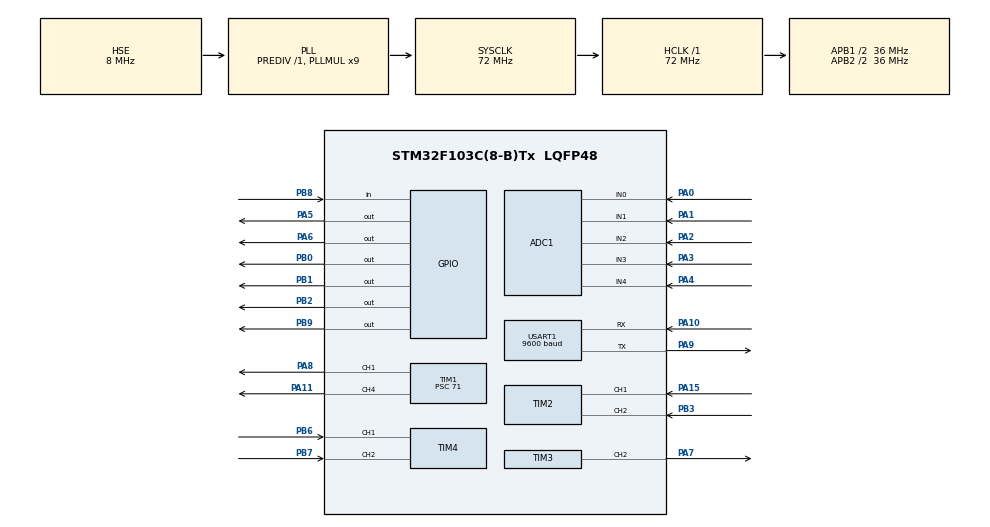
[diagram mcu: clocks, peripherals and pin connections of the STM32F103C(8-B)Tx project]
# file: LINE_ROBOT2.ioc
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ADC1.Channel-0\#ChannelRegularConversion=ADC_CHANNEL_4
ADC1.Channel-1\#ChannelRegularConversion=ADC_CHANNEL_0
ADC1.Channel-2\#ChannelRegularConversion=ADC_CHANNEL_1
ADC1.Channel-3\#ChannelRegularConversion=ADC_CHANNEL_2
ADC1.Channel-6\#ChannelRegularConversion=ADC_CHANNEL_3
ADC1.ContinuousConvMode=ENABLE
ADC1.EnableAnalogWatchDog=false
ADC1.NbrOfConversion=5
ADC1.NbrOfConversionFlag=1
ADC1.Rank-0\#ChannelRegularConversion=1
ADC1.Rank-1\#ChannelRegularConversion=2
ADC1.Rank-2\#ChannelRegularConversion=3
ADC1.Rank-3\#ChannelRegularConversion=4
ADC1.Rank-6\#ChannelRegularConversion=5
ADC1.SamplingTime-0\#ChannelRegularConversion=ADC_SAMPLETIME_71CYCLES_5
ADC1.SamplingTime-1\#ChannelRegularConversion=ADC_SAMPLETIME_71CYCLES_5
ADC1.SamplingTime-2\#ChannelRegularConversion=ADC_SAMPLETIME_71CYCLES_5
ADC1.SamplingTime-3\#ChannelRegularConversion=ADC_SAMPLETIME_71CYCLES_5
ADC1.SamplingTime-6\#ChannelRegularConversion=ADC_SAMPLETIME_71CYCLES_5
ADC1.master=1
Dma.ADC1.0.Direction=DMA_PERIPH_TO_MEMORY
Dma.ADC1.0.Instance=DMA1_Channel1
Dma.ADC1.0.MemDataAlignment=DMA_MDATAALIGN_HALFWORD
Dma.ADC1.0.MemInc=DMA_MINC_ENABLE
Dma.ADC1.0.Mode=DMA_CIRCULAR
Dma.ADC1.0.PeriphDataAlignment=DMA_PDATAALIGN_HALFWORD
Dma.ADC1.0.PeriphInc=DMA_PINC_DISABLE
Dma.ADC1.0.Priority=DMA_PRIORITY_HIGH
Dma.Request0=ADC1
Mcu.Family=STM32F1
Mcu.Name=STM32F103C(8-B)Tx
Mcu.Package=LQFP48
NVIC.ADC1_2_IRQn=true\:0\:0\:false\:false\:true\:true\:true\:true
NVIC.DMA1_Channel1_IRQn=true\:0\:0\:false\:false\:true\:false\:true\:true
NVIC.PriorityGroup=NVIC_PRIORITYGROUP_4
PA0-WKUP.Signal=ADCx_IN0
PA1.Signal=ADCx_IN1
PA10.Mode=Asynchronous
PA10.Signal=USART1_RX
PA11.Signal=S_TIM1_CH4
PA13.Mode=Serial_Wire
PA13.Signal=SYS_JTMS-SWDIO
PA14.Mode=Serial_Wire
PA14.Signal=SYS_JTCK-SWCLK
PA15.Signal=S_TIM2_CH1_ETR
PA2.Signal=ADCx_IN2
PA3.Signal=ADCx_IN3
PA4.Signal=ADCx_IN4
PA5.Signal=GPIO_Output
PA6.Signal=GPIO_Output
PA7.Signal=S_TIM3_CH2
PA8.Signal=S_TIM1_CH1
PA9.Mode=Asynchronous
PA9.Signal=USART1_TX
PB0.Signal=GPIO_Output
PB1.Signal=GPIO_Output
PB2.Signal=GPIO_Output
PB3.Signal=S_TIM2_CH2
PB6.Signal=S_TIM4_CH1
PB7.Signal=S_TIM4_CH2
PB8.Signal=GPIO_Input
PB9.Signal=GPIO_Output
PD0-OSC_IN.Mode=HSE-External-Oscillator
PD0-OSC_IN.Signal=RCC_OSC_IN
PD1-OSC_OUT.Mode=HSE-External-Oscillator
PD1-OSC_OUT.Signal=RCC_OSC_OUT
ProjectManager.HeapSize=0x200
ProjectManager.StackSize=0x400
ProjectManager.TargetToolchain=STM32CubeIDE
RCC.ADCPresc=RCC_ADCPCLK2_DIV6
RCC.AHBFreq_Value=72000000
RCC.APB1CLKDivider=RCC_HCLK_DIV2
RCC.APB1Freq_Value=36000000
RCC.APB1TimFreq_Value=72000000
RCC.APB2CLKDivider=RCC_HCLK_DIV2
RCC.APB2Freq_Value=36000000
RCC.APB2TimFreq_Value=72000000
RCC.HCLKFreq_Value=72000000
RCC.PLLMUL=RCC_PLL_MUL9
RCC.PLLSourceVirtual=RCC_PLLSOURCE_HSE
RCC.SYSCLKFreq_VALUE=72000000
RCC.SYSCLKSource=RCC_SYSCLKSOURCE_PLLCLK
RCC.USBFreq_Value=72000000
SH.ADCx_IN0.0=ADC1_IN0,IN0
SH.ADCx_IN1.0=ADC1_IN1,IN1
SH.ADCx_IN2.0=ADC1_IN2,IN2
SH.ADCx_IN3.0=ADC1_IN3,IN3
SH.ADCx_IN4.0=ADC1_IN4,IN4
SH.S_TIM1_CH1.0=TIM1_CH1,PWM Generation1 CH1
SH.S_TIM1_CH4.0=TIM1_CH4,PWM Generation4 CH4
SH.S_TIM2_CH1_ETR.0=TIM2_CH1,Encoder_Interface
SH.S_TIM2_CH2.0=TIM2_CH2,Encoder_Interface
SH.S_TIM3_CH2.0=TIM3_CH2,PWM Generation2 CH2
SH.S_TIM4_CH1.0=TIM4_CH1,Encoder_Interface
SH.S_TIM4_CH2.0=TIM4_CH2,Encoder_Interface
TIM1.AutoReloadPreload=TIM_AUTORELOAD_PRELOAD_ENABLE
TIM1.Channel-PWM\ Generation1\ CH1=TIM_CHANNEL_1
TIM1.Channel-PWM\ Generation4\ CH4=TIM_CHANNEL_4
TIM1.OC4Preload_PWM=ENABLE
TIM1.Period=99
TIM1.Prescaler=71
TIM2.AutoReloadPreload=TIM_AUTORELOAD_PRELOAD_ENABLE
TIM2.EncoderMode=TIM_ENCODERMODE_TI12
TIM3.AutoReloadPreload=TIM_AUTORELOAD_PRELOAD_ENABLE
TIM3.Channel-PWM\ Generation2\ CH2=TIM_CHANNEL_2
TIM3.Period=99
TIM3.Prescaler=71
TIM4.AutoReloadPreload=TIM_AUTORELOAD_PRELOAD_ENABLE
TIM4.EncoderMode=TIM_ENCODERMODE_TI12
USART1.BaudRate=9600
USART1.VirtualMode=VM_ASYNC
board=custom

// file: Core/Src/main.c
/* USER CODE BEGIN Header */
/**
  ******************************************************************************
  * @file           : main.c
  * @brief          : Main program body
  ******************************************************************************
  * @attention
  *
  * Copyright (c) 2025 STMicroelectronics.
  * All rights reserved.
  *
  * This software is licensed under terms that can be found in the LICENSE file
  * in the root directory of this software component.
  * If no LICENSE file comes with this software, it is provided AS-IS.
  *
  ******************************************************************************
  */
/* USER CODE END Header */
#include "main.h"

/* USER CODE BEGIN Includes */
#include "hienthi.h"
#include "HX711.h"
#include "loadcell.h"
#include "line_follow.h"
#include "control_motor.h"
#include "stdio.h"
/* USER CODE END Includes */

/* USER CODE BEGIN PTD */
LoadCell_HandleTypeDef loadcell;
/* USER CODE END PTD */

ADC_HandleTypeDef hadc1;
DMA_HandleTypeDef hdma_adc1;

TIM_HandleTypeDef htim1;
TIM_HandleTypeDef htim2;
TIM_HandleTypeDef htim3;
TIM_HandleTypeDef htim4;

UART_HandleTypeDef huart1;

/* USER CODE BEGIN PV */
uint16_t adc_dma_buffer[NUM_SENSORS];

/* USER CODE END PV */

void SystemClock_Config(void);
static void MX_GPIO_Init(void);
static void MX_DMA_Init(void);
static void MX_ADC1_Init(void);
static void MX_TIM2_Init(void);
static void MX_USART1_UART_Init(void);
static void MX_TIM1_Init(void);
static void MX_TIM3_Init(void);
static void MX_TIM4_Init(void);

int main(void)
{

  /* MCU Configuration--------------------------------------------------------*/

  /* Reset of all peripherals, Initializes the Flash interface and the Systick. */
  HAL_Init();

  /* Configure the system clock */
  SystemClock_Config();

  /* Initialize all configured peripherals */
  MX_GPIO_Init();
  MX_DMA_Init();
  MX_ADC1_Init();
  MX_TIM2_Init();
  MX_USART1_UART_Init();
  MX_TIM1_Init();
  MX_TIM3_Init();
  MX_TIM4_Init();
  /* USER CODE BEGIN 2 */
  HAL_ADC_Start(&hadc1);
	// Khởi tạo cân
	  LoadCell_Init(&loadcell,
	                GPIOB, GPIO_PIN_8,   // DOUT
	                GPIOB, GPIO_PIN_9,   // SCK
	                415.713012f, -321367);
	  FOLLOW_Init();
	  Motor_Init();
	  print_uart("=== LINE SENSOR TEST START ===\r\n");
	  Motor_SetSpeedMps(0.3f, 0.3f);  // Chạy thẳng 2s đầu

	  uint32_t start_time = HAL_GetTick();
	  uint8_t state = 0; // 0: thẳng, 1: trái, 2: phải, 3: dừng, 4 : chạy thẳng
	  uint32_t last_speed_time = 0;    // để đọc motor mỗi 10 ms
	  uint32_t last_print_time = 0;    // để in UART mỗi 200 ms
  /* USER CODE END 2 */

  /* Infinite loop */
  /* USER CODE BEGIN WHILE */
  while (1)
  {
	  uint32_t now = HAL_GetTick();

	     /* ====== (1) CẬP NHẬT TỐC ĐỘ MỖI 10 ms ====== */
	     if (now - last_speed_time >= 10)   // 10 ms
	     {
	         last_speed_time = now;
	         Motor_ReadSpeed();             // ✅ ĐÚNG CHU KỲ 10 ms
	     }

	     /* ====== (2) STATE MACHINE CỦA XE ====== */
	     switch (state)
	     {
	         case 0: // 🚗 Đi thẳng 2s
	             Motor_SetSpeedMps(0.3f, 0.3f);
	             if (now - start_time >= 2000)
	             {
	                 state = 1;
	                 start_time = now;
	                 print_uart("➡️  Đang quẹo trái\r\n");
	             }
	             break;

	         case 1: // ⤴️ Quẹo trái 2s
	             Motor_SetSpeedMps(0.03f, 0.3f);
	             if (now - start_time >= 2000)
	             {
	                 state = 2;
	                 start_time = now;
	                 print_uart("➡️  Đang quẹo phải\r\n");
	             }
	             break;

	         case 2: // ⤵️ Quẹo phải 2s
	             Motor_SetSpeedMps(0.3f, 0.03f);
	             if (now - start_time >= 2000)
	             {
	                 state = 3;
	                 start_time = now;
	                 print_uart("➡️  Chạy thẳng tiếp 5s\r\n");
	             }
	             break;

	         case 3: // 🚗 Đi thẳng 5s
	             Motor_SetSpeedMps(0.3f, 0.3f);
	             if (now - start_time >= 5000)
	             {
	                 state = 4;
	                 start_time = now;
	                 print_uart("🛑  Dừng hẳn\r\n");
	             }
	             break;

	         case 4: // 🛑 Dừng
	             Motor_SetSpeedMps(0.0f, 0.0f);
	             break;
	     }

	     /* ====== (3) IN TỐC ĐỘ MỖI 200 ms ====== */
	     if (now - last_print_time >= 200)
	     {
	         last_print_time = now;

	         float v_left  = Motor_GetSpeedLeftMS();
	         float v_right = Motor_GetSpeedRightMS();

	         char buffer[96];
	         sprintf(buffer,
	                 "V_trai: %.2f m/s | V_Phai: %.2f m/s\r\n",
	                 v_left, v_right);
	         print_uart(buffer);
	     }
    /* USER CODE END WHILE */

  }
}

void SystemClock_Config(void)
{
  RCC_OscInitTypeDef RCC_OscInitStruct = {0};
  RCC_ClkInitTypeDef RCC_ClkInitStruct = {0};
  RCC_PeriphCLKInitTypeDef PeriphClkInit = {0};

  /** Initializes the RCC Oscillators according to the specified parameters
  * in the RCC_OscInitTypeDef structure.
  */
  RCC_OscInitStruct.OscillatorType = RCC_OSCILLATORTYPE_HSE;
  RCC_OscInitStruct.HSEState = RCC_HSE_ON;
  RCC_OscInitStruct.HSEPredivValue = RCC_HSE_PREDIV_DIV1;
  RCC_OscInitStruct.HSIState = RCC_HSI_ON;
  RCC_OscInitStruct.PLL.PLLState = RCC_PLL_ON;
  RCC_OscInitStruct.PLL.PLLSource = RCC_PLLSOURCE_HSE;
  RCC_OscInitStruct.PLL.PLLMUL = RCC_PLL_MUL9;
  if (HAL_RCC_OscConfig(&RCC_OscInitStruct) != HAL_OK)
  {
    Error_Handler();
  }

  /** Initializes the CPU, AHB and APB buses clocks
  */
  RCC_ClkInitStruct.ClockType = RCC_CLOCKTYPE_HCLK|RCC_CLOCKTYPE_SYSCLK
                              |RCC_CLOCKTYPE_PCLK1|RCC_CLOCKTYPE_PCLK2;
  RCC_ClkInitStruct.SYSCLKSource = RCC_SYSCLKSOURCE_PLLCLK;
  RCC_ClkInitStruct.AHBCLKDivider = RCC_SYSCLK_DIV1;
  RCC_ClkInitStruct.APB1CLKDivider = RCC_HCLK_DIV2;
  RCC_ClkInitStruct.APB2CLKDivider = RCC_HCLK_DIV2;

  if (HAL_RCC_ClockConfig(&RCC_ClkInitStruct, FLASH_LATENCY_2) != HAL_OK)
  {
    Error_Handler();
  }
  PeriphClkInit.PeriphClockSelection = RCC_PERIPHCLK_ADC;
  PeriphClkInit.AdcClockSelection = RCC_ADCPCLK2_DIV6;
  if (HAL_RCCEx_PeriphCLKConfig(&PeriphClkInit) != HAL_OK)
  {
    Error_Handler();
  }
}

static void MX_ADC1_Init(void)
{

  ADC_ChannelConfTypeDef sConfig = {0};

  /** Common config
  */
  hadc1.Instance = ADC1;
  hadc1.Init.ScanConvMode = ADC_SCAN_ENABLE;
  hadc1.Init.ContinuousConvMode = ENABLE;
  hadc1.Init.DiscontinuousConvMode = DISABLE;
  hadc1.Init.ExternalTrigConv = ADC_SOFTWARE_START;
  hadc1.Init.DataAlign = ADC_DATAALIGN_RIGHT;
  hadc1.Init.NbrOfConversion = 5;
  if (HAL_ADC_Init(&hadc1) != HAL_OK)
  {
    Error_Handler();
  }

  /** Configure Regular Channel
  */
  sConfig.Channel = ADC_CHANNEL_4;
  sConfig.Rank = ADC_REGULAR_RANK_1;
  sConfig.SamplingTime = ADC_SAMPLETIME_71CYCLES_5;
  if (HAL_ADC_ConfigChannel(&hadc1, &sConfig) != HAL_OK)
  {
    Error_Handler();
  }

  /** Configure Regular Channel
  */
  sConfig.Channel = ADC_CHANNEL_0;
  sConfig.Rank = ADC_REGULAR_RANK_2;
  if (HAL_ADC_ConfigChannel(&hadc1, &sConfig) != HAL_OK)
  {
    Error_Handler();
  }

  /** Configure Regular Channel
  */
  sConfig.Channel = ADC_CHANNEL_1;
  sConfig.Rank = ADC_REGULAR_RANK_3;
  if (HAL_ADC_ConfigChannel(&hadc1, &sConfig) != HAL_OK)
  {
    Error_Handler();
  }

  /** Configure Regular Channel
  */
  sConfig.Channel = ADC_CHANNEL_2;
  sConfig.Rank = ADC_REGULAR_RANK_4;
  if (HAL_ADC_ConfigChannel(&hadc1, &sConfig) != HAL_OK)
  {
    Error_Handler();
  }

  /** Configure Regular Channel
  */
  sConfig.Channel = ADC_CHANNEL_3;
  sConfig.Rank = ADC_REGULAR_RANK_5;
  if (HAL_ADC_ConfigChannel(&hadc1, &sConfig) != HAL_OK)
  {
    Error_Handler();
  }

}

static void MX_TIM1_Init(void)
{

  TIM_MasterConfigTypeDef sMasterConfig = {0};
  TIM_OC_InitTypeDef sConfigOC = {0};
  TIM_BreakDeadTimeConfigTypeDef sBreakDeadTimeConfig = {0};

  htim1.Instance = TIM1;
  htim1.Init.Prescaler = 71;
  htim1.Init.CounterMode = TIM_COUNTERMODE_UP;
  htim1.Init.Period = 99;
  htim1.Init.ClockDivision = TIM_CLOCKDIVISION_DIV1;
  htim1.Init.RepetitionCounter = 0;
  htim1.Init.AutoReloadPreload = TIM_AUTORELOAD_PRELOAD_ENABLE;
  if (HAL_TIM_PWM_Init(&htim1) != HAL_OK)
  {
    Error_Handler();
  }
  sMasterConfig.MasterOutputTrigger = TIM_TRGO_RESET;
  sMasterConfig.MasterSlaveMode = TIM_MASTERSLAVEMODE_DISABLE;
  if (HAL_TIMEx_MasterConfigSynchronization(&htim1, &sMasterConfig) != HAL_OK)
  {
    Error_Handler();
  }
  sConfigOC.OCMode = TIM_OCMODE_PWM1;
  sConfigOC.Pulse = 0;
  sConfigOC.OCPolarity = TIM_OCPOLARITY_HIGH;
  sConfigOC.OCNPolarity = TIM_OCNPOLARITY_HIGH;
  sConfigOC.OCFastMode = TIM_OCFAST_DISABLE;
  sConfigOC.OCIdleState = TIM_OCIDLESTATE_RESET;
  sConfigOC.OCNIdleState = TIM_OCNIDLESTATE_RESET;
  if (HAL_TIM_PWM_ConfigChannel(&htim1, &sConfigOC, TIM_CHANNEL_1) != HAL_OK)
  {
    Error_Handler();
  }
  if (HAL_TIM_PWM_ConfigChannel(&htim1, &sConfigOC, TIM_CHANNEL_4) != HAL_OK)
  {
    Error_Handler();
  }
  sBreakDeadTimeConfig.OffStateRunMode = TIM_OSSR_DISABLE;
  sBreakDeadTimeConfig.OffStateIDLEMode = TIM_OSSI_DISABLE;
  sBreakDeadTimeConfig.LockLevel = TIM_LOCKLEVEL_OFF;
  sBreakDeadTimeConfig.DeadTime = 0;
  sBreakDeadTimeConfig.BreakState = TIM_BREAK_DISABLE;
  sBreakDeadTimeConfig.BreakPolarity = TIM_BREAKPOLARITY_HIGH;
  sBreakDeadTimeConfig.AutomaticOutput = TIM_AUTOMATICOUTPUT_DISABLE;
  if (HAL_TIMEx_ConfigBreakDeadTime(&htim1, &sBreakDeadTimeConfig) != HAL_OK)
  {
    Error_Handler();
  }
  HAL_TIM_MspPostInit(&htim1);

}

static void MX_TIM2_Init(void)
{

  TIM_Encoder_InitTypeDef sConfig = {0};
  TIM_MasterConfigTypeDef sMasterConfig = {0};

  htim2.Instance = TIM2;
  htim2.Init.Prescaler = 0;
  htim2.Init.CounterMode = TIM_COUNTERMODE_UP;
  htim2.Init.Period = 65535;
  htim2.Init.ClockDivision = TIM_CLOCKDIVISION_DIV1;
  htim2.Init.AutoReloadPreload = TIM_AUTORELOAD_PRELOAD_ENABLE;
  sConfig.EncoderMode = TIM_ENCODERMODE_TI12;
  sConfig.IC1Polarity = TIM_ICPOLARITY_RISING;
  sConfig.IC1Selection = TIM_ICSELECTION_DIRECTTI;
  sConfig.IC1Prescaler = TIM_ICPSC_DIV1;
  sConfig.IC1Filter = 0;
  sConfig.IC2Polarity = TIM_ICPOLARITY_RISING;
  sConfig.IC2Selection = TIM_ICSELECTION_DIRECTTI;
  sConfig.IC2Prescaler = TIM_ICPSC_DIV1;
  sConfig.IC2Filter = 0;
  if (HAL_TIM_Encoder_Init(&htim2, &sConfig) != HAL_OK)
  {
    Error_Handler();
  }
  sMasterConfig.MasterOutputTrigger = TIM_TRGO_RESET;
  sMasterConfig.MasterSlaveMode = TIM_MASTERSLAVEMODE_DISABLE;
  if (HAL_TIMEx_MasterConfigSynchronization(&htim2, &sMasterConfig) != HAL_OK)
  {
    Error_Handler();
  }

}

static void MX_TIM3_Init(void)
{

  TIM_MasterConfigTypeDef sMasterConfig = {0};
  TIM_OC_InitTypeDef sConfigOC = {0};

  htim3.Instance = TIM3;
  htim3.Init.Prescaler = 71;
  htim3.Init.CounterMode = TIM_COUNTERMODE_UP;
  htim3.Init.Period = 99;
  htim3.Init.ClockDivision = TIM_CLOCKDIVISION_DIV1;
  htim3.Init.AutoReloadPreload = TIM_AUTORELOAD_PRELOAD_ENABLE;
  if (HAL_TIM_PWM_Init(&htim3) != HAL_OK)
  {
    Error_Handler();
  }
  sMasterConfig.MasterOutputTrigger = TIM_TRGO_RESET;
  sMasterConfig.MasterSlaveMode = TIM_MASTERSLAVEMODE_DISABLE;
  if (HAL_TIMEx_MasterConfigSynchronization(&htim3, &sMasterConfig) != HAL_OK)
  {
    Error_Handler();
  }
  sConfigOC.OCMode = TIM_OCMODE_PWM1;
  sConfigOC.Pulse = 0;
  sConfigOC.OCPolarity = TIM_OCPOLARITY_HIGH;
  sConfigOC.OCFastMode = TIM_OCFAST_DISABLE;
  if (HAL_TIM_PWM_ConfigChannel(&htim3, &sConfigOC, TIM_CHANNEL_2) != HAL_OK)
  {
    Error_Handler();
  }
  HAL_TIM_MspPostInit(&htim3);

}

static void MX_TIM4_Init(void)
{

  TIM_Encoder_InitTypeDef sConfig = {0};
  TIM_MasterConfigTypeDef sMasterConfig = {0};

  htim4.Instance = TIM4;
  htim4.Init.Prescaler = 0;
  htim4.Init.CounterMode = TIM_COUNTERMODE_UP;
  htim4.Init.Period = 65535;
  htim4.Init.ClockDivision = TIM_CLOCKDIVISION_DIV1;
  htim4.Init.AutoReloadPreload = TIM_AUTORELOAD_PRELOAD_ENABLE;
  sConfig.EncoderMode = TIM_ENCODERMODE_TI12;
  sConfig.IC1Polarity = TIM_ICPOLARITY_RISING;
  sConfig.IC1Selection = TIM_ICSELECTION_DIRECTTI;
  sConfig.IC1Prescaler = TIM_ICPSC_DIV1;
  sConfig.IC1Filter = 0;
  sConfig.IC2Polarity = TIM_ICPOLARITY_RISING;
  sConfig.IC2Selection = TIM_ICSELECTION_DIRECTTI;
  sConfig.IC2Prescaler = TIM_ICPSC_DIV1;
  sConfig.IC2Filter = 0;
  if (HAL_TIM_Encoder_Init(&htim4, &sConfig) != HAL_OK)
  {
    Error_Handler();
  }
  sMasterConfig.MasterOutputTrigger = TIM_TRGO_RESET;
  sMasterConfig.MasterSlaveMode = TIM_MASTERSLAVEMODE_DISABLE;
  if (HAL_TIMEx_MasterConfigSynchronization(&htim4, &sMasterConfig) != HAL_OK)
  {
    Error_Handler();
  }

}

static void MX_USART1_UART_Init(void)
{

  huart1.Instance = USART1;
  huart1.Init.BaudRate = 9600;
  huart1.Init.WordLength = UART_WORDLENGTH_8B;
  huart1.Init.StopBits = UART_STOPBITS_1;
  huart1.Init.Parity = UART_PARITY_NONE;
  huart1.Init.Mode = UART_MODE_TX_RX;
  huart1.Init.HwFlowCtl = UART_HWCONTROL_NONE;
  huart1.Init.OverSampling = UART_OVERSAMPLING_16;
  if (HAL_UART_Init(&huart1) != HAL_OK)
  {
    Error_Handler();
  }

}

static void MX_DMA_Init(void)
{

  /* DMA controller clock enable */
  __HAL_RCC_DMA1_CLK_ENABLE();

  /* DMA interrupt init */
  /* DMA1_Channel1_IRQn interrupt configuration */
  HAL_NVIC_SetPriority(DMA1_Channel1_IRQn, 0, 0);
  HAL_NVIC_EnableIRQ(DMA1_Channel1_IRQn);

}

static void MX_GPIO_Init(void)
{
  GPIO_InitTypeDef GPIO_InitStruct = {0};

  /* GPIO Ports Clock Enable */
  __HAL_RCC_GPIOD_CLK_ENABLE();
  __HAL_RCC_GPIOA_CLK_ENABLE();
  __HAL_RCC_GPIOB_CLK_ENABLE();

  /*Configure GPIO pin Output Level */
  HAL_GPIO_WritePin(GPIOA, GPIO_PIN_5|GPIO_PIN_6, GPIO_PIN_RESET);

  /*Configure GPIO pin Output Level */
  HAL_GPIO_WritePin(GPIOB, GPIO_PIN_0|GPIO_PIN_1|GPIO_PIN_2|GPIO_PIN_9, GPIO_PIN_RESET);

  /*Configure GPIO pins : PA5 PA6 */
  GPIO_InitStruct.Pin = GPIO_PIN_5|GPIO_PIN_6;
  GPIO_InitStruct.Mode = GPIO_MODE_OUTPUT_PP;
  GPIO_InitStruct.Pull = GPIO_NOPULL;
  GPIO_InitStruct.Speed = GPIO_SPEED_FREQ_LOW;
  HAL_GPIO_Init(GPIOA, &GPIO_InitStruct);

  /*Configure GPIO pins : PB0 PB1 PB2 PB9 */
  GPIO_InitStruct.Pin = GPIO_PIN_0|GPIO_PIN_1|GPIO_PIN_2|GPIO_PIN_9;
  GPIO_InitStruct.Mode = GPIO_MODE_OUTPUT_PP;
  GPIO_InitStruct.Pull = GPIO_NOPULL;
  GPIO_InitStruct.Speed = GPIO_SPEED_FREQ_LOW;
  HAL_GPIO_Init(GPIOB, &GPIO_InitStruct);

  /*Configure GPIO pin : PB8 */
  GPIO_InitStruct.Pin = GPIO_PIN_8;
  GPIO_InitStruct.Mode = GPIO_MODE_INPUT;
  GPIO_InitStruct.Pull = GPIO_NOPULL;
  HAL_GPIO_Init(GPIOB, &GPIO_InitStruct);

}

void Error_Handler(void)
{
  __disable_irq();
  while (1)
  {
  }
}
